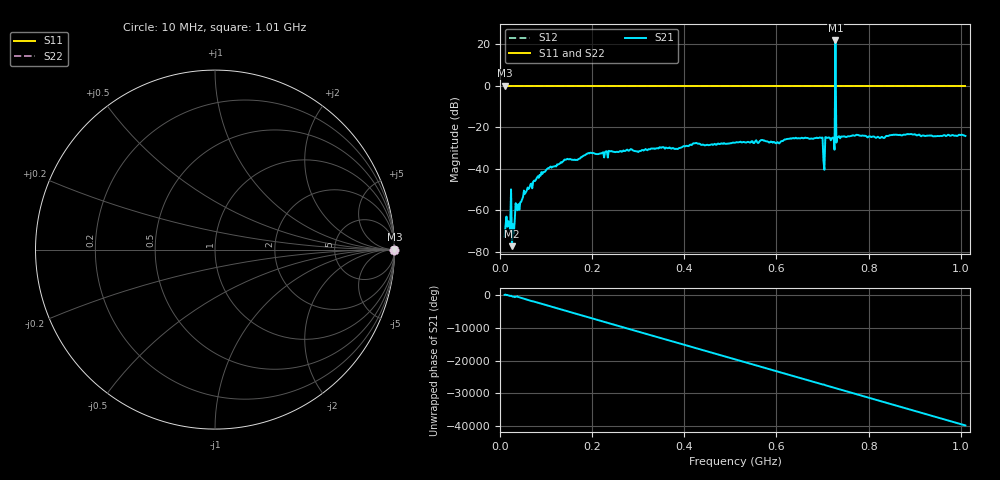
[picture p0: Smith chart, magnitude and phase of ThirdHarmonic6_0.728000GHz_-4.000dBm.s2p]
! 8/16/2025 12:20:35 AM
! C:\ANRITSUVNA\TEMP\TEMP.S2P
! CHANNEL.1
! TR.MEASUREMENT
! RAW.DATA
! RF.CORRECTION.OFF
! AVERAGING.OFF
! IF.BANDWIDTH: 5KHZ
! SWEEPTYPE:  FREQ.SWEEP(Linear)
! Reference Plane Port Info
! PORT:  PORT1  PORT2
! DISTANCE:  0  m  0  m
! TIME:  0  s  0  s
! PHASE.OFFSET:  0  deg.  0  deg.
! LOSS:  0  dB  0  dB
! REF.LOSS:  0  dB  0  dB
! REF.FREQ:  0  Hz  0  Hz
! Power Info
! POWER:  -20  dBm  -20  dBm
! EFF.POWER:  -20  dBm  -20  dBm
! SOURCE.ATTEN:  0  dB  0  dB
! TEST.ATTEN:  0  dB  0  dB
# GHZ S RI R 50.0
! FREQ.GHZ  S11RE  S11IM  S21RE  S21IM  S12RE  S12IM  S22RE  S22IM
!; PortSelection: Port_12
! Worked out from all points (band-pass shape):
!   501 points, 10 MHz to 1.01 GHz, reference 50 ohm
!   highest |S21| = 21.83 dB at 728 MHz (marker M1); lowest = -77.3 dB at 26 MHz (marker M2)
!   |S21| within 3 dB of the highest: 727.886 MHz to 728.122 MHz (236 kHz wide, 0.0324 % of centre)
!   lowest |S11| = 0.0 dB at 10 MHz (marker M3)
!   |S11| at or under -10 dB: nowhere
!   |S22| runs from 0.0 to 0.0 dB; largest |S21 - S12| = 12
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0.01  1 0  0.000233 -1.37e-05  1 0  1 0
0.02  1 0  -0.000275 0.000376  1 0  1 0
0.026  1 0  -2.28e-05 -0.000135  1 0  1 0
0.03  1 0  -0.000278 2.84e-05  1 0  1 0
0.036  1 0  -0.000883 -0.000638  1 0  1 0
0.056  1 0  -0.000847 0.0026  1 0  1 0
0.086  1 0  0.00541 -0.00468  1 0  1 0
0.178  1 0  -0.0191 -0.00386  1 0  1 0
0.344  1 0  0.0302 -0.00697  1 0  1 0
0.51  1 0  -0.0388 0.0173  1 0  1 0
0.678  1 0  -0.0261 -0.0461  1 0  1 0
0.696  1 0  -0.0332 -0.0451  1 0  1 0
0.7  1 0  0.0154 0.0546  1 0  1 0
0.706  1 0  -0.0567 -0.0119  1 0  1 0
0.71  1 0  0.0485 0.0273  1 0  1 0
0.722  1 0  -0.000287 -0.0565  1 0  1 0
0.724  1 0  -0.0553 -0.00819  1 0  1 0
0.728  1 0  9.725 7.606  1 0  1 0
0.732  1 0  -0.0376 -0.0416  1 0  1 0
0.734  1 0  -0.0501 0.0323  1 0  1 0
0.844  1 0  0.0477 0.0407  1 0  1 0
1.01  1 0  -0.0609 -0.0101  1 0  1 0
